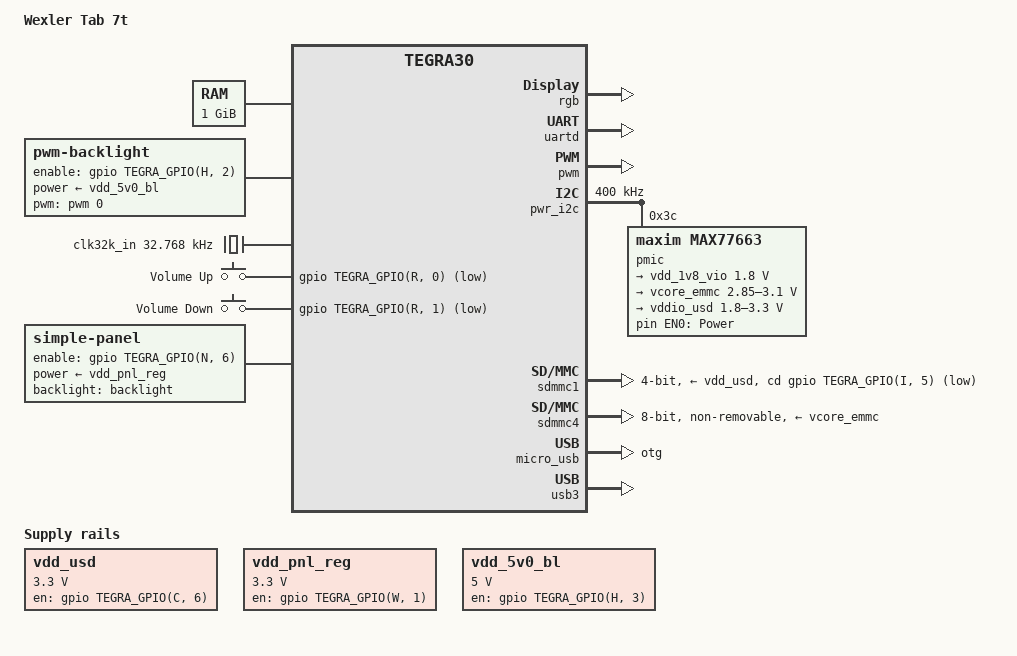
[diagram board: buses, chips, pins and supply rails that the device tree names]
// SPDX-License-Identifier: GPL-2.0
/dts-v1/;

/* CPU Speedo ID 7, Soc Speedo ID 1, CPU Process: 4, Core Process: 0 */

#include <dt-bindings/input/input.h>
#include <dt-bindings/pmic/max77663.h>

#include "tegra30.dtsi"

/ {
	model = "Wexler Tab 7t";
	compatible = "wexler,qc750", "nvidia,tegra30";

	chosen {
		stdout-path = &uartd;
	};

	aliases {
		i2c0 = &pwr_i2c;

		mmc0 = &sdmmc4;	/* eMMC */
		mmc1 = &sdmmc1; /* uSD slot */

		rtc0 = &pmic;
		rtc1 = "/rtc@7000e000";

		usb0 = &micro_usb;
		usb1 = &usb3; /* Full size USB */
	};

	memory {
		device_type = "memory";
		reg = <0x80000000 0x40000000>;
	};

	host1x@50000000 {
		dc@54200000 {
			rgb {
				status = "okay";

				nvidia,panel = <&panel>;
			};
		};
	};

	uartd: serial@70006300 {
		status = "okay";
	};

	pwm: pwm@7000a000 {
		status = "okay";
	};

	pwr_i2c: i2c@7000d000 {
		status = "okay";
		clock-frequency = <400000>;

		pmic: max77663@3c {
			compatible = "maxim,max77663";
			reg = <0x3c>;

			interrupts = <GIC_SPI 86 IRQ_TYPE_LEVEL_HIGH>;
			#interrupt-cells = <2>;
			interrupt-controller;

			#gpio-cells = <2>;
			gpio-controller;

			system-power-controller;

			regulators {
				vdd_1v8_vio: sd2 {
					regulator-name = "vdd_1v8_gen";
					regulator-min-microvolt = <1800000>;
					regulator-max-microvolt = <1800000>;
					regulator-always-on;
					regulator-boot-on;
				};

				vcore_emmc: ldo3 {
					regulator-name = "vcore_emmc";
					regulator-min-microvolt = <2850000>;
					regulator-max-microvolt = <3100000>;
				};

				vddio_usd: ldo6 {
					regulator-name = "vddio_usd";
					regulator-min-microvolt = <1800000>;
					regulator-max-microvolt = <3300000>;
					regulator-always-on;
					regulator-boot-on;
				};
			};
		};
	};

	sdmmc1: sdhci@78000000 {
		status = "okay";
		bus-width = <4>;

		cd-gpios = <&gpio TEGRA_GPIO(I, 5) GPIO_ACTIVE_LOW>;
		power-gpios = <&gpio TEGRA_GPIO(D, 7) GPIO_ACTIVE_HIGH>;

		vmmc-supply = <&vdd_usd>;
		vqmmc-supply = <&vddio_usd>;
	};

	sdmmc4: sdhci@78000600 {
		status = "okay";
		bus-width = <8>;
		non-removable;

		vmmc-supply = <&vcore_emmc>;
		vqmmc-supply = <&vdd_1v8_vio>;
	};

	micro_usb: usb@7d000000 {
		status = "okay";
		dr_mode = "otg";
	};

	/* Full size USB */
	usb3: usb@7d008000 {
		status = "okay";
	};

	backlight: backlight {
		compatible = "pwm-backlight";

		enable-gpios = <&gpio TEGRA_GPIO(H, 2) GPIO_ACTIVE_HIGH>;
		power-supply = <&vdd_5v0_bl>;
		pwms = <&pwm 0 5000000>;

		brightness-levels = <1 35 70 105 140 175 210 255>;
		default-brightness-level = <5>;
	};

	/* PMIC has a built-in 32KHz oscillator which is used by PMC */
	clk32k_in: clock-32k {
		compatible = "fixed-clock";
		#clock-cells = <0>;
		clock-frequency = <32768>;
		clock-output-names = "pmic-oscillator";
	};

	gpio-keys {
		compatible = "gpio-keys";

		key-power {
			label = "Power";
			gpios = <&pmic EN0 GPIO_ACTIVE_HIGH>;
			linux,code = <KEY_ENTER>;
		};

		key-volume-up {
			label = "Volume Up";
			gpios = <&gpio TEGRA_GPIO(R, 0) GPIO_ACTIVE_LOW>;
			linux,code = <KEY_UP>;
		};

		key-volume-down {
			label = "Volume Down";
			gpios = <&gpio TEGRA_GPIO(R, 1) GPIO_ACTIVE_LOW>;
			linux,code = <KEY_DOWN>;
		};
	};

	panel: panel {
		compatible = "simple-panel";

		power-supply = <&vdd_pnl_reg>;
		enable-gpios = <&gpio TEGRA_GPIO(N, 6) GPIO_ACTIVE_HIGH>;

		backlight = <&backlight>;

		display-timings {
			timing@0 {
				/* 1280x800@60Hz */
				clock-frequency = <81750000>;

				hactive = <800>;
				hfront-porch = <64>;
				hback-porch = <128>;
				hsync-len = <64>;

				vactive = <1280>;
				vfront-porch = <5>;
				vback-porch = <2>;
				vsync-len = <1>;
			};
		};
	};

	vdd_usd: regulator-emmc {
		compatible = "regulator-fixed";
		regulator-name = "vdd_3v3_sdmmc1";
		regulator-min-microvolt = <3300000>;
		regulator-max-microvolt = <3300000>;
		gpio = <&gpio TEGRA_GPIO(C, 6) GPIO_ACTIVE_HIGH>;
		enable-active-high;
	};

	vdd_pnl_reg: regulator-pnl {
		compatible = "regulator-fixed";
		regulator-name = "vdd_panel";
		regulator-min-microvolt = <3300000>;
		regulator-max-microvolt = <3300000>;
		gpio = <&gpio TEGRA_GPIO(W, 1) GPIO_ACTIVE_HIGH>;
		enable-active-high;
	};

	vdd_5v0_bl: regulator-bl {
		compatible = "regulator-fixed";
		regulator-name = "vdd_5v0_bl";
		regulator-min-microvolt = <5000000>;
		regulator-max-microvolt = <5000000>;
		gpio = <&gpio TEGRA_GPIO(H, 3) GPIO_ACTIVE_HIGH>;
		enable-active-high;
	};
};
